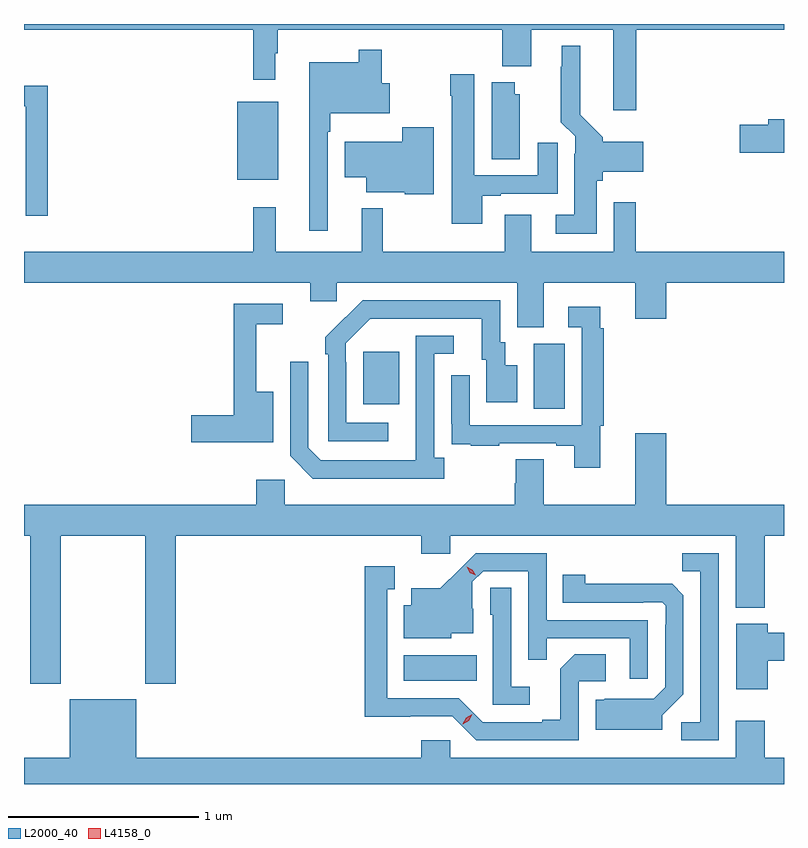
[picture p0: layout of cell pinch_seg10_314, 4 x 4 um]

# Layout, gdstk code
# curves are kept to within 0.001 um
import gdstk
lib = gdstk.Library(unit=1e-6, precision=1e-09)
def R(c, l, rs):  # rectangles x0, y0, x1, y1
    for r in rs: c.add(gdstk.rectangle(r[:2], r[2:], *l))
def P(c, l, *ps):  # polygons
    for p in ps: c.add(gdstk.Polygon(p, *l))
L2000_40 = (2000, 40)
L4158_0 = (4158, 0)

pinch_seg10_314 = lib.new_cell('pinch_seg10_314')
R(pinch_seg10_314, L2000_40, [(499.454,1286.234,499.838,1286.368), (500.138,1287.664,500.302,1288.008), (499.241,1287.689,499.429,1287.964), (498.578,1288.871,498.793,1289.281)])
P(pinch_seg10_314, L2000_40, [(500.678,1289.66),(501.455,1289.66),(501.455,1289.69),(497.455,1289.69),(497.455,1289.66),(498.661,1289.66),(498.661,1289.397),(498.778,1289.397),(498.778,1289.537),(498.79,1289.537),(498.79,1289.66),(499.973,1289.66),(499.973,1289.468),(500.125,1289.468),(500.125,1289.66),(500.555,1289.66),(500.555,1289.235),(500.678,1289.235)],
  [(500.47,1288.866),(500.501,1288.866),(500.501,1288.913),(500.713,1288.913),(500.713,1289.071),(500.501,1289.071),(500.501,1289.094),(500.383,1289.212),(500.383,1289.575),(500.285,1289.575),(500.285,1289.465),(500.281,1289.465),(500.281,1289.174),(500.355,1289.1),(500.355,1289.006),(500.351,1289.006),(500.351,1288.687),(500.253,1288.687),(500.253,1288.586),(500.47,1288.586)],
  [(499.053,1289.123),(499.066,1289.123),(499.066,1289.219),(499.381,1289.219),(499.381,1289.377),(499.339,1289.377),(499.339,1289.554),(499.218,1289.554),(499.218,1289.488),(498.956,1289.488),(498.956,1288.602),(499.053,1288.602)],
  [(499.867,1288.785),(499.963,1288.785),(499.963,1288.797),(500.263,1288.797),(500.263,1289.065),(500.159,1289.065),(500.159,1288.893),(499.825,1288.893),(499.825,1289.425),(499.699,1289.425),(499.699,1289.312),(499.706,1289.312),(499.706,1288.638),(499.867,1288.638)],
  [(500.065,1289.319),(500.038,1289.319),(500.038,1289.383),(499.916,1289.383),(499.916,1288.978),(500.065,1288.978)],
  [(497.579,1289.365),(497.456,1289.365),(497.456,1289.362),(497.455,1289.362),(497.455,1289.258),(497.463,1289.258),(497.463,1288.68),(497.579,1288.68)],
  [(501.455,1289.188),(501.371,1289.188),(501.371,1289.159),(501.222,1289.159),(501.222,1289.012),(501.455,1289.012)],
  [(499.612,1289.146),(499.447,1289.146),(499.447,1289.071),(499.142,1289.071),(499.142,1288.883),(499.256,1288.883),(499.256,1288.805),(499.458,1288.805),(499.458,1288.793),(499.612,1288.793)],
  [(500.191,1288.328),(500.672,1288.328),(500.672,1288.14),(500.836,1288.14),(500.836,1288.328),(501.455,1288.328),(501.455,1288.492),(500.675,1288.492),(500.675,1288.753),(500.559,1288.753),(500.559,1288.492),(500.125,1288.492),(500.125,1288.687),(499.985,1288.687),(499.985,1288.492),(499.342,1288.492),(499.342,1288.72),(499.232,1288.72),(499.232,1288.492),(498.779,1288.492),(498.779,1288.726),(498.661,1288.726),(498.661,1288.492),(497.455,1288.492),(497.455,1288.328),(498.962,1288.328),(498.962,1288.23),(499.101,1288.23),(499.101,1288.328),(500.051,1288.328),(500.051,1288.093),(500.191,1288.093)],
  [(499.372,1287.591),(499.152,1287.591),(499.152,1287.911),(499.149,1287.911),(499.149,1288.011),(499.278,1288.14),(499.865,1288.14),(499.865,1287.924),(499.889,1287.924),(499.889,1287.699),(500.05,1287.699),(500.05,1287.895),(499.987,1287.895),(499.987,1288.014),(499.962,1288.014),(499.962,1288.236),(499.238,1288.236),(499.041,1288.041),(499.041,1287.953),(499.056,1287.953),(499.056,1287.495),(499.372,1287.495)],
  [(498.766,1287.754),(498.677,1287.754),(498.677,1288.11),(498.817,1288.11),(498.817,1288.218),(498.559,1288.218),(498.559,1287.632),(498.336,1287.632),(498.336,1287.49),(498.766,1287.49)],
  [(500.489,1287.576),(500.507,1287.576),(500.507,1288.088),(500.489,1288.088),(500.489,1288.201),(500.319,1288.201),(500.319,1288.095),(500.391,1288.095),(500.391,1287.579),(499.8,1287.579),(499.8,1287.841),(499.704,1287.841),(499.704,1287.586),(499.705,1287.586),(499.705,1287.477),(499.807,1287.477),(499.807,1287.471),(499.955,1287.471),(499.955,1287.483),(500.255,1287.483),(500.255,1287.471),(500.351,1287.471),(500.351,1287.354),(500.489,1287.354)],
  [(499.666,1287.406),(499.614,1287.406),(499.614,1287.954),(499.717,1287.954),(499.717,1288.05),(499.518,1288.05),(499.517,1287.393),(499.017,1287.393),(498.951,1287.459),(498.951,1287.913),(498.855,1287.913),(498.855,1287.417),(498.976,1287.296),(499.666,1287.296)],
  [(497.649,1286.996),(498.094,1286.996),(498.094,1286.217),(498.254,1286.217),(498.254,1286.996),(499.547,1286.996),(499.547,1286.901),(499.698,1286.901),(499.698,1286.996),(501.2,1286.996),(501.2,1286.618),(501.353,1286.618),(501.353,1286.996),(501.455,1286.996),(501.455,1287.16),(500.836,1287.16),(500.836,1287.535),(500.672,1287.535),(500.672,1287.16),(500.191,1287.16),(500.191,1287.398),(500.044,1287.398),(500.044,1287.273),(500.039,1287.273),(500.039,1287.16),(498.828,1287.16),(498.828,1287.292),(498.677,1287.292),(498.677,1287.16),(497.455,1287.16),(497.455,1286.996),(497.489,1286.996),(497.489,1286.217),(497.649,1286.217)],
  [(501.111,1286.904),(500.92,1286.904),(500.92,1286.809),(501.015,1286.809),(501.015,1286.016),(500.913,1286.016),(500.913,1285.92),(501.111,1285.92)],
  [(500.739,1286.553),(500.205,1286.553),(500.205,1286.904),(499.832,1286.904),(499.645,1286.719),(499.493,1286.719),(499.493,1286.632),(499.454,1286.632),(499.454,1286.456),(499.704,1286.456),(499.704,1286.483),(499.819,1286.483),(499.819,1286.612),(499.815,1286.612),(499.815,1286.754),(499.872,1286.811),(500.109,1286.811),(500.109,1286.344),(500.207,1286.344),(500.207,1286.457),(500.643,1286.457),(500.643,1286.244),(500.739,1286.244)],
  [(500.376,1286.232),(500.518,1286.232),(500.518,1286.372),(500.353,1286.372),(500.277,1286.296),(500.277,1286.029),(500.183,1286.029),(500.183,1286.016),(499.869,1286.016),(499.743,1286.142),(499.366,1286.142),(499.366,1286.715),(499.405,1286.715),(499.405,1286.836),(499.248,1286.836),(499.248,1286.045),(499.71,1286.046),(499.836,1285.92),(500.376,1285.92)],
  [(500.815,1286.052),(500.925,1286.162),(500.925,1286.684),(500.866,1286.743),(500.409,1286.744),(500.409,1286.791),(500.29,1286.791),(500.29,1286.643),(500.714,1286.643),(500.714,1286.646),(500.814,1286.646),(500.832,1286.628),(500.832,1286.528),(500.829,1286.528),(500.829,1286.199),(500.769,1286.139),(500.512,1286.14),(500.506,1286.134),(500.465,1286.134),(500.465,1285.976),(500.815,1285.976)],
  [(500.116,1286.203),(500.019,1286.203),(500.019,1286.723),(499.908,1286.723),(499.908,1286.58),(499.923,1286.58),(499.923,1286.106),(500.116,1286.106)],
  [(501.37,1286.339),(501.455,1286.339),(501.455,1286.486),(501.37,1286.486),(501.37,1286.533),(501.203,1286.533),(501.203,1286.19),(501.37,1286.19)],
  [(501.455,1285.828),(501.353,1285.828),(501.353,1286.023),(501.2,1286.023),(501.2,1285.828),(499.698,1285.828),(499.698,1285.921),(499.547,1285.921),(499.547,1285.828),(498.046,1285.828),(498.046,1286.137),(497.696,1286.137),(497.696,1285.828),(497.455,1285.828),(497.455,1285.69),(501.455,1285.69)])
P(pinch_seg10_314, L4158_0, [(499.832,1286.788),(499.802,1286.803),(499.784,1286.833),(499.784,1286.833),(499.784,1286.833),(499.815,1286.818),(499.833,1286.788),(499.833,1286.788)],
  [(499.765,1286.005),(499.765,1286.006),(499.782,1286.038),(499.814,1286.057),(499.814,1286.057),(499.814,1286.057),(499.797,1286.024),(499.765,1286.005)])

lib.write_gds('pinch_seg10_314.gds')
